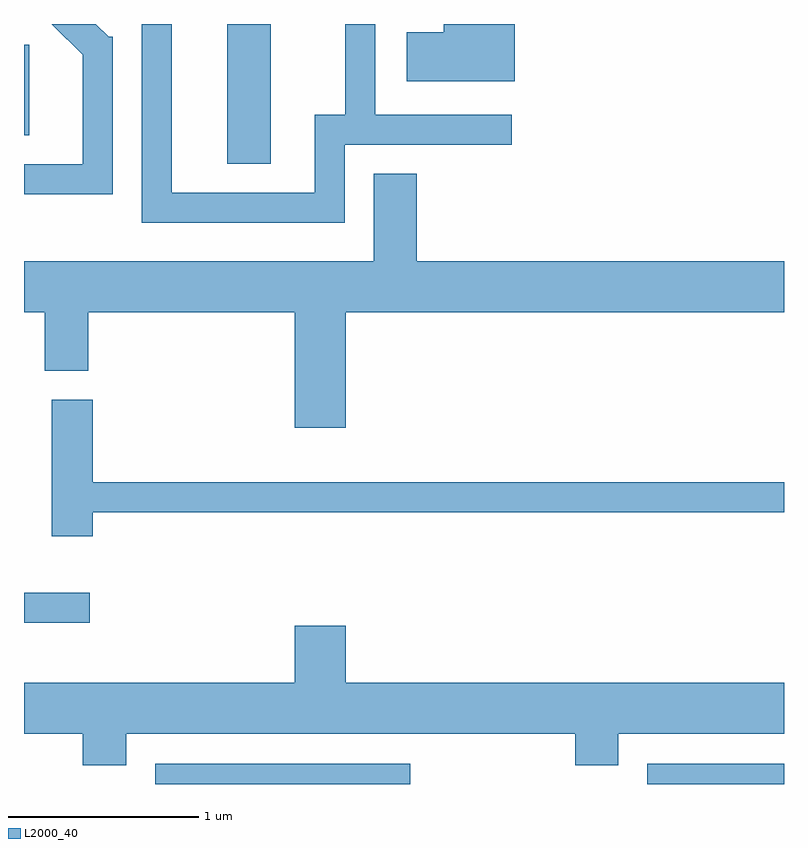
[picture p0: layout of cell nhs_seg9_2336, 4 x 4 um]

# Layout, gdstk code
import gdstk
lib = gdstk.Library(unit=1e-6, precision=1e-09)
def R(c, l, rs):  # rectangles x0, y0, x1, y1
    for r in rs: c.add(gdstk.rectangle(r[:2], r[2:], *l))
def P(c, l, *ps):  # polygons
    for p in ps: c.add(gdstk.Polygon(p, *l))
L2000_40 = (2000, 40)

nhs_seg9_2336 = lib.new_cell('nhs_seg9_2336')
R(nhs_seg9_2336, L2000_40, [(254.301,2000.432,255.643,2000.539), (256.891,2000.432,257.611,2000.539), (253.611,2001.281,253.958,2001.439), (254.681,2003.696,254.909,2004.432), (253.611,2003.846,253.639,2004.324)])
P(nhs_seg9_2336, L2000_40, [(254.079,2004.364),(254.057,2004.364),(253.989,2004.432),(253.758,2004.432),(253.921,2004.269),(253.921,2003.694),(253.611,2003.694),(253.611,2003.536),(254.079,2003.536)],
  [(255.299,2003.796),(256.178,2003.796),(256.178,2003.954),(255.459,2003.954),(255.459,2004.432),(255.301,2004.432),(255.301,2003.954),(255.141,2003.954),(255.141,2003.544),(254.389,2003.544),(254.389,2004.432),(254.231,2004.432),(254.231,2003.386),(255.299,2003.386)],
  [(256.194,2004.432),(255.821,2004.432),(255.821,2004.389),(255.626,2004.389),(255.626,2004.131),(256.194,2004.131)],
  [(255.304,2002.916),(257.611,2002.916),(257.611,2003.184),(255.679,2003.184),(255.679,2003.644),(255.451,2003.644),(255.451,2003.184),(253.611,2003.184),(253.611,2002.916),(253.721,2002.916),(253.721,2002.606),(253.949,2002.606),(253.949,2002.916),(255.036,2002.916),(255.036,2002.306),(255.304,2002.306)],
  [(253.974,2001.861),(257.611,2001.861),(257.611,2002.019),(253.974,2002.019),(253.974,2002.454),(253.756,2002.454),(253.756,2001.736),(253.974,2001.736)],
  [(254.149,2000.696),(256.511,2000.696),(256.511,2000.531),(256.739,2000.531),(256.739,2000.696),(257.611,2000.696),(257.611,2000.964),(255.304,2000.964),(255.304,2001.264),(255.036,2001.264),(255.036,2000.964),(253.611,2000.964),(253.611,2000.696),(253.921,2000.696),(253.921,2000.531),(254.149,2000.531)])

lib.write_gds('nhs_seg9_2336.gds')
